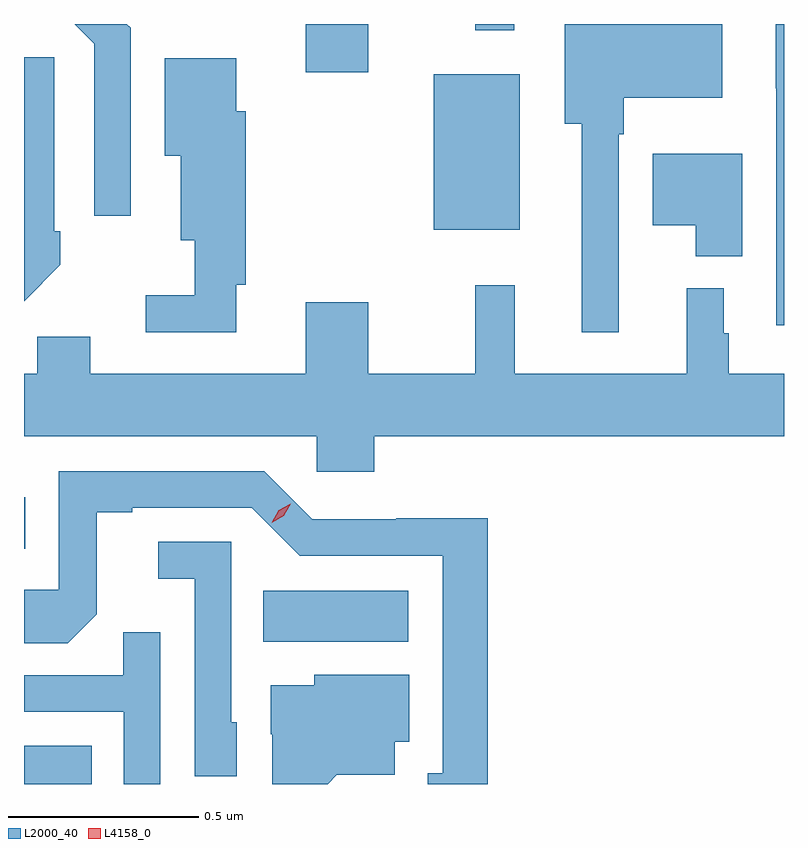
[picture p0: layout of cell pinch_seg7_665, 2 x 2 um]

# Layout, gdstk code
import gdstk
lib = gdstk.Library(unit=1e-6, precision=1e-09)
def R(c, l, rs):  # rectangles x0, y0, x1, y1
    for r in rs: c.add(gdstk.rectangle(r[:2], r[2:], *l))
def P(c, l, *ps):  # polygons
    for p in ps: c.add(gdstk.Polygon(p, *l))
L2000_40 = (2000, 40)
L4158_0 = (4158, 0)

pinch_seg7_665 = lib.new_cell('pinch_seg7_665')
R(pinch_seg7_665, L2000_40, [(128.302,1010.357,128.48,1010.458), (128.932,1010.732,129.313,1010.866), (128.302,1010.976,128.305,1011.112), (129.38,1011.815,129.607,1012.225), (129.044,1012.23,129.208,1012.357), (129.49,1012.341,129.592,1012.357)])
P(pinch_seg7_665, L2000_40, [(129.867,1012.067),(129.88,1012.067),(129.88,1012.163),(130.14,1012.163),(130.14,1012.357),(129.725,1012.357),(129.725,1012.094),(129.77,1012.094),(129.77,1011.546),(129.867,1011.546)],
  [(128.583,1012.347),(128.573,1012.357),(128.435,1012.357),(128.487,1012.305),(128.487,1011.852),(128.583,1011.852)],
  [(130.302,1012.357),(130.28,1012.357),(130.28,1012.188),(130.281,1012.188),(130.281,1011.564),(130.302,1011.564)],
  [(128.397,1011.723),(128.397,1011.811),(128.382,1011.811),(128.382,1012.269),(128.302,1012.269),(128.302,1011.628)],
  [(128.861,1011.671),(128.885,1011.671),(128.885,1012.128),(128.86,1012.128),(128.86,1012.267),(128.672,1012.267),(128.672,1012.01),(128.714,1012.01),(128.714,1011.788),(128.751,1011.788),(128.751,1011.643),(128.622,1011.643),(128.622,1011.546),(128.861,1011.546)],
  [(130.192,1012.015),(129.956,1012.015),(129.956,1011.827),(130.07,1011.827),(130.07,1011.746),(130.192,1011.746)],
  [(129.224,1011.272),(130.302,1011.272),(130.302,1011.436),(130.156,1011.436),(130.156,1011.543),(130.144,1011.543),(130.144,1011.661),(130.046,1011.661),(130.046,1011.436),(129.593,1011.436),(129.593,1011.67),(129.49,1011.67),(129.49,1011.436),(129.208,1011.436),(129.208,1011.625),(129.044,1011.625),(129.044,1011.436),(128.476,1011.436),(128.476,1011.534),(128.337,1011.534),(128.337,1011.436),(128.302,1011.436),(128.302,1011.272),(129.072,1011.272),(129.072,1011.179),(129.224,1011.179)],
  [(129.523,1011.056),(129.282,1011.056),(129.282,1011.054),(129.06,1011.054),(128.934,1011.18),(128.394,1011.18),(128.394,1010.868),(128.302,1010.868),(128.302,1010.728),(128.417,1010.728),(128.493,1010.804),(128.493,1011.072),(128.587,1011.072),(128.587,1011.084),(128.901,1011.084),(129.027,1010.958),(129.404,1010.958),(129.404,1010.385),(129.365,1010.385),(129.365,1010.357),(129.523,1010.357)],
  [(128.862,1010.52),(128.847,1010.52),(128.847,1010.994),(128.655,1010.994),(128.655,1010.897),(128.751,1010.897),(128.751,1010.377),(128.862,1010.377)],
  [(128.661,1010.756),(128.563,1010.756),(128.563,1010.643),(128.302,1010.643),(128.302,1010.547),(128.565,1010.547),(128.565,1010.357),(128.661,1010.357)],
  [(129.125,1010.381),(129.277,1010.381),(129.277,1010.468),(129.316,1010.468),(129.316,1010.644),(129.066,1010.644),(129.066,1010.617),(128.951,1010.617),(128.951,1010.488),(128.955,1010.488),(128.955,1010.357),(129.101,1010.357)])
P(pinch_seg7_665, L4158_0, [(128.954,1011.044),(128.954,1011.044),(128.972,1011.077),(129.004,1011.095),(129.004,1011.095),(129.004,1011.095),(128.986,1011.063),(128.954,1011.044)])

lib.write_gds('pinch_seg7_665.gds')
